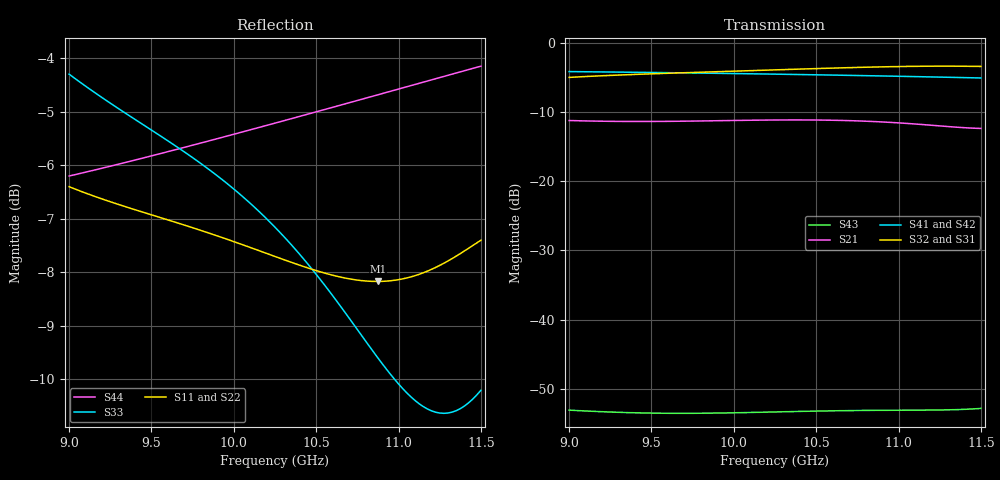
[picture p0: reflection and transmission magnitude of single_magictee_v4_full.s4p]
! Generated from PyAEDT SolutionData; AEDT ExportNetworkData workaround
# GHz S MA R 50
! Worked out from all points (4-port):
!   101 points, 9 GHz to 11.5 GHz, reference 50 ohm
!   strongest paths, dB at 9 GHz, 9.625 GHz, 10.25 GHz, 10.88 GHz, 11.5 GHz:
!     S32: -5.0, -4.4, -3.9, -3.5, -3.4
!     S31: -5.1, -4.4, -4.0, -3.5, -3.5
!     S41: -4.2, -4.3, -4.5, -4.8, -5.1
!     S42: -4.2, -4.4, -4.6, -4.8, -5.2
!     S21: -11.2, -11.3, -11.2, -11.4, -12.4
!     S43: -53.1, -53.5, -53.3, -53.1, -52.8
!   lowest |S11| = -8.2 dB at 10.88 GHz (marker M1), VSWR 2.28, Z = 21.9 + j0.259 ohm
!   |S11| at or under -10 dB: nowhere
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9  0.4787 20.9  0.2744 -54.9  0.559 -8.4  0.6189 42.2
   0.2744 -54.9  0.4818 20.3  0.5618 -8.3  0.614 -137.6
   0.559 -8.4  0.5618 -8.3  0.6099 168.5  0.002223 74.3
   0.6189 42.2  0.614 -137.6  0.002223 74.3  0.4898 -148.8
9.375  0.4568 -23.5  0.2701 -107.6  0.586 -75.5  0.6123 0.1
       0.2701 -107.6  0.4593 -24.2  0.589 -75.4  0.6077 -179.7
       0.586 -75.5  0.589 -75.4  0.5565 81.9  0.002132 10.1
       0.6123 0.1  0.6077 -179.7  0.002132 10.1  0.5058 172.2
9.675  0.442 -57.8  0.2712 -148.3  0.6029 -127.2  0.6063 -32.6
       0.2712 -148.3  0.444 -58.5  0.6059 -127.1  0.6018 147.6
       0.6029 -127.2  0.6059 -127.1  0.519 15.3  0.002109 -40.1
       0.6063 -32.6  0.6018 147.6  0.002109 -40.1  0.5198 141.7
10  0.4253 -93.6  0.2746 168.6  0.6203 178.1  0.5991 -67.2
    0.2746 168.6  0.427 -94.4  0.6232 178.2  0.5948 112.9
    0.6203 178.1  0.6232 178.2  0.4763 -54.8  0.002128 -94.5
    0.5991 -67.2  0.5948 112.9  0.002128 -94.5  0.5359 109.2
10.475  0.4008 -142.8  0.2768 106.5  0.6463 99.4  0.5874 -116.7
        0.2768 106.5  0.402 -143.6  0.6493 99.4  0.5833 63.5
        0.6463 99.4  0.6493 99.4  0.4009 -157.5  0.002186 -175.9
        0.5874 -116.7  0.5833 63.5  0.002186 -175.9  0.561 62.4
10.875  0.3904 179.3  0.2689 55.6  0.6658 33.1  0.5763 -157.5
        0.2689 55.6  0.3912 178.5  0.6687 33.1  0.5723 22.6
        0.6658 33.1  0.6687 33.1  0.3311 110.0  0.002216 113.4
        0.5763 -157.5  0.5723 22.6  0.002216 113.4  0.5834 23.6
11.5  0.4266 120.4  0.2406 -14.7  0.671 -73.9  0.5567 139.7
      0.2406 -14.7  0.4273 119.8  0.6741 -73.9  0.5524 -40.2
      0.671 -73.9  0.6741 -73.9  0.3089 -54.4  0.00229 -0.9
      0.5567 139.7  0.5524 -40.2  0.00229 -0.9  0.6205 -36.6
